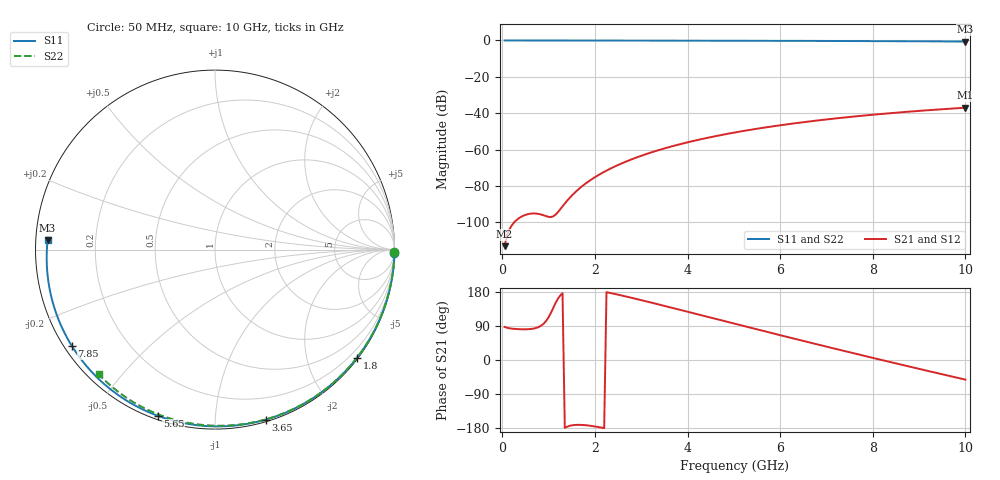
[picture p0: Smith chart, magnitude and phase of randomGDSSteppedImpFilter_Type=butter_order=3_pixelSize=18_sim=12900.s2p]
! freq	dB(S11)	phase(S11)	dB(S12)	phase(S12)
!  dB(S21)	phase(S21)	dB(S22)	phase(S22)
!S-par simulation data
#  GHz  S  DB  R 50
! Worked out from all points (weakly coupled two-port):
!   200 points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, 50 MHz to 10 GHz, reference 50 ohm
!   highest |S21| = -36.98 dB at 10 GHz (marker M1); lowest = -113.1 dB at 50 MHz (marker M2)
!   lowest |S11| = -0.6 dB at 10 GHz (marker M3), VSWR 29.39, Z = 1.7 + j1.37 ohm
!   |S11| at or under -10 dB: nowhere
!   |S22| runs from -0.4 to 0.0 dB; largest |S21 - S12| = 0
!   S11 on the Smith chart (normalised r, x): 50 MHz: open; 1.8 GHz: 0.03, -2.95; 3.65 GHz: 0.02, -1.34; 5.65 GHz: 0.02, -0.71; 7.85 GHz: 0.02, -0.31; 10 GHz: 0.03, +0.03
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0.05  -0.00 -1.1  -113.09 87.3  -113.09 87.3  -0.00 -0.8
0.45  -0.01 -9.5  -96.38 81.0  -96.38 81.0  -0.01 -6.9
0.85  -0.02 -17.9  -95.78 91.5  -95.78 91.5  -0.02 -13.0
1.25  -0.03 -26.2  -92.87 170.1  -92.87 170.1  -0.02 -19.0
1.7  -0.05 -35.4  -80.62 -171.2  -80.62 -171.2  -0.03 -25.8
1.75  -0.05 -36.4  -79.60 -171.6  -79.60 -171.6  -0.03 -26.5
1.8  -0.05 -37.4  -78.63 -172.1  -78.63 -172.1  -0.03 -27.3
2.1  -0.06 -43.4  -73.64 -177.5  -73.64 -177.5  -0.04 -31.7
2.5  -0.07 -51.4  -68.46 172.4  -68.46 172.4  -0.05 -37.6
2.9  -0.08 -59.2  -64.32 161.0  -64.32 161.0  -0.06 -43.4
3.4  -0.09 -68.7  -60.11 145.9  -60.11 145.9  -0.07 -50.5
3.65  -0.10 -73.4  -58.29 138.2  -58.29 138.2  -0.07 -54.0
4.35  -0.12 -86.3  -53.96 116.5  -53.96 116.5  -0.09 -63.7
5.05  -0.15 -98.7  -50.46 94.7  -50.46 94.7  -0.11 -73.0
5.65  -0.18 -109.1  -47.94 76.2  -47.94 76.2  -0.13 -80.9
6.15  -0.21 -117.6  -46.10 60.9  -46.10 60.9  -0.15 -87.3
6.7  -0.25 -126.8  -44.31 44.3  -44.31 44.3  -0.18 -94.1
7.3  -0.29 -136.8  -42.58 26.3  -42.58 26.3  -0.22 -101.5
7.85  -0.34 -145.9  -41.18 10.0  -41.18 10.0  -0.25 -108.0
8.35  -0.39 -154.3  -40.04 -4.6  -40.04 -4.6  -0.29 -113.9
9.2  -0.49 -168.9  -38.34 -29.1  -38.34 -29.1  -0.36 -123.8
10  -0.59 176.8  -36.98 -51.8  -36.98 -51.8  -0.45 -133.0
